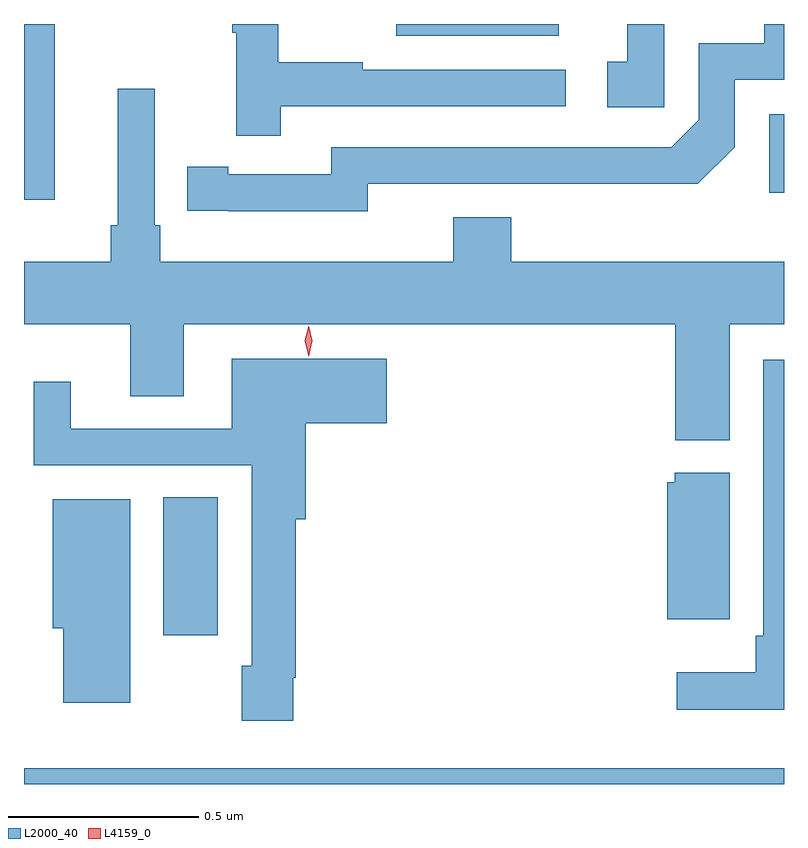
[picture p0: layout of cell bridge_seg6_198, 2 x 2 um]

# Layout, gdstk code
import gdstk
lib = gdstk.Library(unit=1e-6, precision=1e-09)
def R(c, l, rs):  # rectangles x0, y0, x1, y1
    for r in rs: c.add(gdstk.rectangle(r[:2], r[2:], *l))
def P(c, l, *ps):  # polygons
    for p in ps: c.add(gdstk.Polygon(p, *l))
L2000_40 = (2000, 40)
L4159_0 = (4159, 0)

bridge_seg6_198 = lib.new_cell('bridge_seg6_198')
R(bridge_seg6_198, L2000_40, [(303.511,966.106,305.511,966.148), (303.878,966.498,304.021,966.86), (303.511,967.644,303.592,968.106), (305.472,967.662,305.511,967.869), (304.491,968.075,304.918,968.106)])
P(bridge_seg6_198, L2000_40, [(304.416,967.686),(304.876,967.686),(304.876,967.685),(305.284,967.685),(305.382,967.782),(305.382,967.959),(305.511,967.959),(305.511,968.106),(305.459,968.106),(305.459,968.055),(305.286,968.055),(305.286,967.854),(305.214,967.782),(304.32,967.782),(304.32,967.71),(304.048,967.71),(304.048,967.73),(303.94,967.73),(303.94,967.614),(304.048,967.614),(304.048,967.613),(304.416,967.613)],
  [(305.196,968.106),(305.099,968.106),(305.099,968.007),(305.046,968.007),(305.046,967.887),(305.196,967.887)],
  [(304.187,967.89),(304.936,967.89),(304.936,967.986),(304.403,967.986),(304.403,968.006),(304.18,968.006),(304.18,968.106),(304.059,968.106),(304.059,968.083),(304.07,968.083),(304.07,967.812),(304.187,967.812)],
  [(305.368,967.316),(305.511,967.316),(305.511,967.48),(304.793,967.48),(304.793,967.597),(304.64,967.597),(304.64,967.48),(303.869,967.48),(303.869,967.576),(303.855,967.576),(303.855,967.936),(303.758,967.936),(303.758,967.576),(303.739,967.576),(303.739,967.48),(303.511,967.48),(303.511,967.316),(303.791,967.316),(303.791,967.126),(303.931,967.126),(303.931,967.316),(305.225,967.316),(305.225,967.01),(305.368,967.01)],
  [(304.219,966.385),(304.226,966.385),(304.226,966.803),(304.253,966.803),(304.253,967.055),(304.465,967.055),(304.465,967.225),(304.058,967.225),(304.058,967.041),(303.634,967.041),(303.634,967.165),(303.536,967.165),(303.536,966.945),(304.11,966.945),(304.11,966.417),(304.084,966.417),(304.084,966.273),(304.219,966.273)],
  [(305.511,967.222),(305.457,967.222),(305.457,966.496),(305.437,966.496),(305.437,966.4),(305.229,966.4),(305.229,966.302),(305.511,966.302)],
  [(305.368,966.925),(305.223,966.925),(305.223,966.9),(305.204,966.9),(305.204,966.539),(305.368,966.539)],
  [(303.79,966.856),(303.587,966.856),(303.587,966.516),(303.614,966.516),(303.614,966.32),(303.79,966.32)])
P(bridge_seg6_198, L4159_0, [(304.26,967.231),(304.26,967.231),(304.25,967.272),(304.26,967.312),(304.26,967.312),(304.26,967.312),(304.27,967.272),(304.26,967.231)])

lib.write_gds('bridge_seg6_198.gds')
